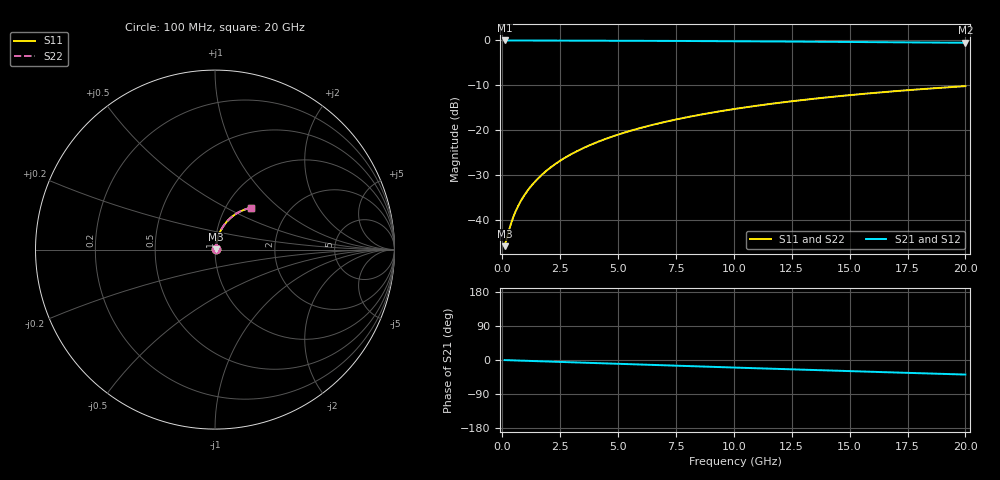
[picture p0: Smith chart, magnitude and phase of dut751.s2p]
! Touchstone file exported from HFSS 2026.1.0
!  File:  C:/ffzhzh/LocalFiles/Ansys_Project_Files/temp_train_BSMRDL_751_1783168892_22436.aedt
!  Generated:  08:42:45 PM Jul  4, 2026
!  Design:  BSMRDL
!  Project:  temp_train_BSMRDL_751_1783168892_22436
! Variables:
!  h_bsmrdl = 2.61um
!  h_ox = 20um
!  h_rdl = 5um
!  h_sub = 80um
!  h_tmrdl = 5um
!  h_tsv = 80um
!  h_via = 3um
!  l_bsmrdl = 591.29um
!  l_sub = 991.29um
!  l_tmrdl = 200um
!  m_sub = 200um
!  pitch = 33.58um
!  r_tsv = 6um
!  s_tmrdl = 10um
!  w_bsmrdl = 18.14um
!  w_sub = 500um
!  w_tmrdl = 12um
!  x_tsv_center1 = 206um
!  x_tsv_center2 = 815.43um
!  x_tsv_center3 = 1027.43um
!  x_tsv_center4 = 1636.86um
!  x_tsv_center5 = 1848.86um
!  x_tsv_center6 = 2458.29um
# GHz S MA R 50.000000
! Terminal data exported
! Port[1] = BSM_RDL1_1_T1
! Port[2] = BSM_RDL1_1_T2
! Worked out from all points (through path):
!   200 points, 100 MHz to 20 GHz, reference 50 ohm
!   highest |S21| = -0.04 dB at 100 MHz (marker M1); lowest = -0.6 dB at 20 GHz (marker M2)
!   group delay of S21, straight-line fit = 5.34 ps
!   lowest |S11| = -45.9 dB at 100 MHz (marker M3), VSWR 1.01, Z = 50.5 + j0.207 ohm
!   |S11| at or under -10 dB: start of sweep to end of sweep
!   |S22| runs from -45.9 to -10.2 dB; largest |S21 - S12| = 3.6e-15
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0.1  0.005061 23.9  0.9954 -0.2  0.9954 -0.2  0.005061 23.9
! Gamma 0 0 0 0
! Port Impedance 50 0 50 0
0.3  0.007795 50.2  0.9951 -0.6  0.9951 -0.6  0.007795 50.2
0.4  0.009437 56.4  0.9949 -0.9  0.9949 -0.9  0.009437 56.4
0.5  0.01111 60.6  0.9947 -1.1  0.9947 -1.1  0.01111 60.6
0.6  0.01279 63.6  0.9945 -1.3  0.9945 -1.3  0.01279 63.6
0.7  0.01446 65.9  0.9943 -1.5  0.9943 -1.5  0.01446 65.9
0.9  0.01783 69.2  0.9941 -1.9  0.9941 -1.9  0.01783 69.2
1.2  0.02291 72.4  0.9938 -2.5  0.9938 -2.5  0.02291 72.4
1.4  0.02632 73.8  0.9936 -2.9  0.9936 -2.9  0.02632 73.8
1.7  0.03149 75.2  0.9933 -3.5  0.9933 -3.5  0.03149 75.2
2.2  0.04016 76.4  0.9929 -4.5  0.9929 -4.5  0.04016 76.4
2.8  0.05062 76.9  0.9922 -5.7  0.9922 -5.7  0.05062 76.9
3.5  0.06281 76.7  0.9913 -7.1  0.9913 -7.1  0.06281 76.7
4.2  0.07496 76.1  0.9902 -8.5  0.9902 -8.5  0.07496 76.2
5  0.08874 75.2  0.9888 -10.1  0.9888 -10.1  0.08874 75.2
5.9  0.1041 73.9  0.9869 -11.9  0.9869 -11.9  0.1041 73.9
6.8  0.1192 72.4  0.9848 -13.7  0.9848 -13.7  0.1192 72.4
8.3  0.1439 69.9  0.9808 -16.6  0.9808 -16.6  0.1439 69.9
10.1  0.1726 66.7  0.9753 -20.1  0.9753 -20.1  0.1726 66.7
13.4  0.222 60.7  0.9638 -26.4  0.9638 -26.4  0.222 60.7
16.7  0.2673 54.9  0.9511 -32.5  0.9511 -32.5  0.2673 54.9
20  0.3081 49.1  0.9378 -38.4  0.9378 -38.4  0.3081 49.1
